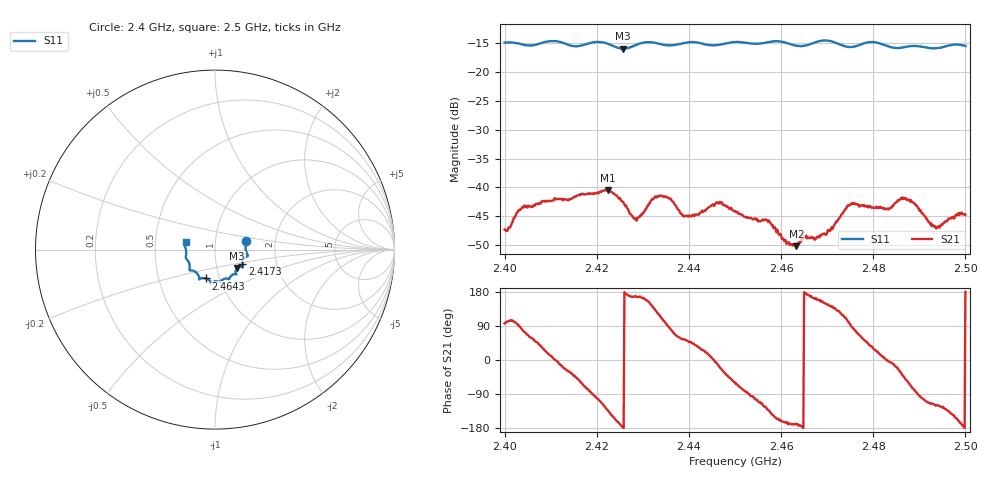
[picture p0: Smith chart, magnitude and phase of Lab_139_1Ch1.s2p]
# Hz S RI R 50
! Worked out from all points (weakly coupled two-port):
!   601 points, 2.4 GHz to 2.5 GHz, reference 50 ohm
!   highest |S21| = -40.47 dB at 2.4225 GHz (marker M1); lowest = -50.2 dB at 2.4633 GHz (marker M2)
!   lowest |S11| = -15.9 dB at 2.4257 GHz (marker M3), VSWR 1.38, Z = 62.4 - j13.1 ohm
!   |S11| at or under -10 dB: start of sweep to end of sweep
!   S12 and S22 are empty: the file has one direction only
!   S11 on the Smith chart (normalised r, x): 2.4 GHz: 1.41, +0.15; 2.4173 GHz: 1.34, -0.23; 2.4643 GHz: 0.86, -0.28; 2.5 GHz: 0.72, +0.06
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2.4e9  0.1733 0.0499  -0.000511 0.0043  0 0  0 0
2.404e9  0.1718 0.0251  0.00152 0.00663  0 0  0 0
2.416667e9  0.153 -0.0742  0.00436 -0.00755  0 0  0 0
2.417333e9  0.1526 -0.0818  0.00302 -0.00813  0 0  0 0
2.4225e9  0.1489 -0.0939  -0.00663 -0.00676  0 0  0 0
2.425667e9  0.1225 -0.1025  -0.00752 -0.000265  0 0  0 0
2.428667e9  0.1155 -0.1291  -0.00503 0.00115  0 0  0 0
2.433333e9  0.1126 -0.1365  -0.0044 0.00705  0 0  0 0
2.435667e9  0.0967 -0.141  0.000503 0.00807  0 0  0 0
2.439167e9  0.0811 -0.1604  0.00331 0.00456  0 0  0 0
2.446333e9  0.0446 -0.1665  0.00719 -0.00171  0 0  0 0
2.45e9  0.0296 -0.1806  0.00317 -0.0053  0 0  0 0
2.457e9  -0.0136 -0.1812  -0.00337 -0.00393  0 0  0 0
2.463333e9  -0.0393 -0.165  -0.00303 -0.000618  0 0  0 0
2.464333e9  -0.0502 -0.1605  -0.00356 -0.000367  0 0  0 0
2.466667e9  -0.0764 -0.1598  -0.00361 0.000918  0 0  0 0
2.470167e9  -0.0876 -0.166  -0.00356 0.00237  0 0  0 0
2.475e9  -0.1066 -0.1262  -0.00058 0.00704  0 0  0 0
2.483333e9  -0.1409 -0.0896  0.00643 -0.000406  0 0  0 0
2.487333e9  -0.1576 -0.0543  0.00452 -0.00632  0 0  0 0
2.494e9  -0.1617 -0.00149  -0.00224 -0.00392  0 0  0 0
2.5e9  -0.1635 0.042  -0.00579 4.43e-05  0 0  0 0
